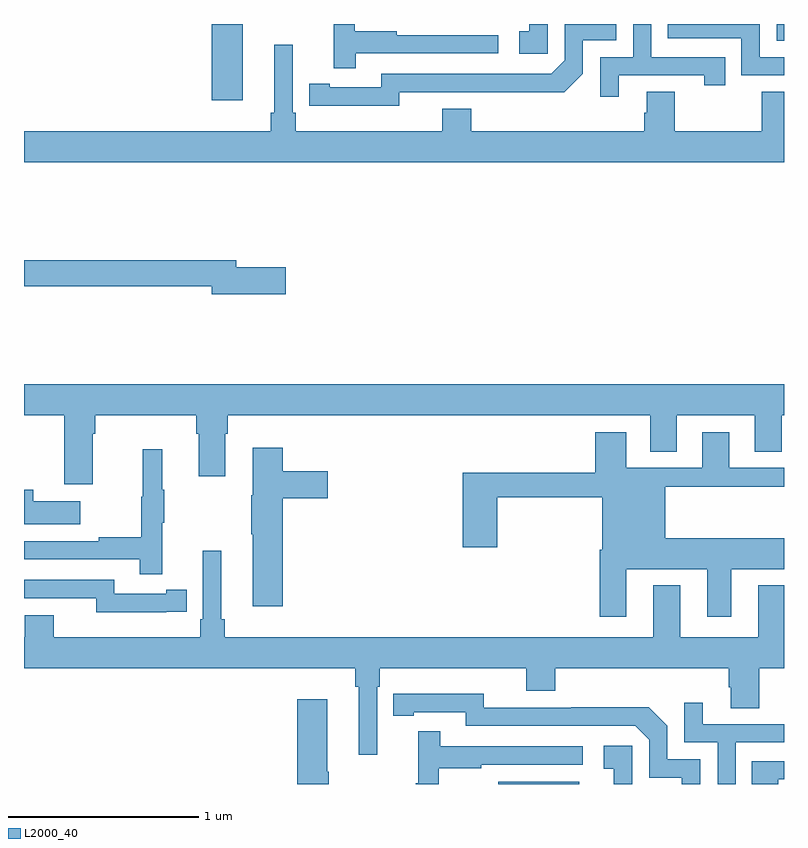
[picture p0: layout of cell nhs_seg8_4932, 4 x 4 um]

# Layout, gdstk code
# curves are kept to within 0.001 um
import gdstk
lib = gdstk.Library(unit=1e-6, precision=1e-09)
def R(c, l, rs):  # rectangles x0, y0, x1, y1
    for r in rs: c.add(gdstk.rectangle(r[:2], r[2:], *l))
def P(c, l, *ps):  # polygons
    for p in ps: c.add(gdstk.Polygon(p, *l))
L2000_40 = (2000, 40)

nhs_seg8_4932 = lib.new_cell('nhs_seg8_4932')
R(nhs_seg8_4932, L2000_40, [(411.495,1107.9,411.922,1107.913), (409.988,1111.5,410.152,1111.9), (412.962,1111.812,413,1111.9)])
P(nhs_seg8_4932, L2000_40, [(410.976,1111.542),(411.844,1111.541),(411.942,1111.638),(411.942,1111.815),(412.116,1111.815),(412.116,1111.9),(411.846,1111.9),(411.846,1111.71),(411.774,1111.638),(410.88,1111.638),(410.88,1111.566),(410.608,1111.566),(410.608,1111.586),(410.5,1111.586),(410.5,1111.47),(410.976,1111.469)],
  [(412.129,1111.629),(412.58,1111.629),(412.58,1111.578),(412.691,1111.578),(412.691,1111.725),(412.302,1111.725),(412.302,1111.9),(412.206,1111.9),(412.206,1111.725),(412.032,1111.725),(412.032,1111.518),(412.129,1111.518)],
  [(411.756,1111.9),(411.659,1111.9),(411.659,1111.863),(411.606,1111.863),(411.606,1111.743),(411.756,1111.743)],
  [(410.747,1111.746),(411.496,1111.746),(411.496,1111.842),(410.963,1111.842),(410.963,1111.862),(410.74,1111.862),(410.74,1111.9),(410.63,1111.9),(410.63,1111.668),(410.747,1111.668)],
  [(413,1111.725),(412.872,1111.725),(412.872,1111.9),(412.387,1111.9),(412.387,1111.824),(412.776,1111.824),(412.776,1111.629),(413,1111.629)],
  [(413,1111.544),(412.882,1111.544),(412.882,1111.336),(412.425,1111.336),(412.425,1111.544),(412.277,1111.544),(412.277,1111.434),(412.265,1111.434),(412.265,1111.336),(411.353,1111.336),(411.353,1111.453),(411.2,1111.453),(411.2,1111.336),(410.429,1111.336),(410.429,1111.432),(410.415,1111.432),(410.415,1111.792),(410.318,1111.792),(410.318,1111.432),(410.299,1111.432),(410.299,1111.336),(409,1111.336),(409,1111.172),(413,1111.172)],
  [(410.377,1110.62),(410.116,1110.62),(410.116,1110.656),(409,1110.656),(409,1110.52),(409.988,1110.52),(409.988,1110.478),(410.377,1110.478)],
  [(409.363,1109.744),(409.376,1109.744),(409.376,1109.84),(409.907,1109.84),(409.907,1109.744),(409.919,1109.744),(409.919,1109.52),(410.059,1109.52),(410.059,1109.744),(410.072,1109.744),(410.072,1109.84),(412.295,1109.84),(412.295,1109.65),(412.435,1109.65),(412.435,1109.84),(412.847,1109.84),(412.847,1109.65),(412.987,1109.65),(412.987,1109.84),(413,1109.84),(413,1110.004),(409,1110.004),(409,1109.84),(409.211,1109.84),(409.211,1109.478),(409.363,1109.478)],
  [(412.171,1109.03),(412.595,1109.03),(412.595,1108.779),(412.723,1108.779),(412.723,1109.03),(413,1109.03),(413,1109.194),(412.375,1109.194),(412.375,1109.464),(413,1109.464),(413,1109.565),(412.711,1109.565),(412.711,1109.752),(412.571,1109.752),(412.571,1109.565),(412.171,1109.565),(412.171,1109.752),(412.007,1109.752),(412.007,1109.539),(411.308,1109.539),(411.308,1109.145),(411.491,1109.145),(411.491,1109.41),(412.043,1109.41),(412.043,1109.134),(412.031,1109.134),(412.031,1108.779),(412.171,1108.779)],
  [(410.363,1109.405),(410.599,1109.405),(410.599,1109.547),(410.363,1109.547),(410.363,1109.671),(410.204,1109.671),(410.204,1109.421),(410.197,1109.421),(410.197,1109.215),(410.204,1109.215),(410.204,1108.836),(410.363,1108.836)],
  [(409.727,1109.275),(409.738,1109.275),(409.738,1109.449),(409.727,1109.449),(409.727,1109.662),(409.624,1109.662),(409.624,1109.412),(409.617,1109.412),(409.617,1109.198),(409.393,1109.198),(409.393,1109.178),(409,1109.178),(409,1109.082),(409.609,1109.082),(409.609,1109.004),(409.727,1109.004)],
  [(409.297,1109.389),(409.049,1109.389),(409.049,1109.449),(409,1109.449),(409,1109.267),(409.297,1109.267)],
  [(410.859,1108.412),(410.873,1108.412),(410.873,1108.508),(411.644,1108.508),(411.644,1108.391),(411.797,1108.391),(411.797,1108.508),(412.709,1108.508),(412.709,1108.41),(412.721,1108.41),(412.721,1108.3),(412.869,1108.3),(412.869,1108.508),(413,1108.508),(413,1108.945),(412.865,1108.945),(412.865,1108.672),(412.453,1108.672),(412.453,1108.945),(412.313,1108.945),(412.313,1108.672),(410.057,1108.672),(410.057,1108.768),(410.038,1108.768),(410.038,1109.128),(409.941,1109.128),(409.941,1108.768),(409.928,1108.768),(409.928,1108.672),(409.156,1108.672),(409.156,1108.789),(409.004,1108.789),(409.004,1108.672),(409,1108.672),(409,1108.508),(410.743,1108.508),(410.743,1108.412),(410.762,1108.412),(410.762,1108.053),(410.859,1108.053)],
  [(409.748,1108.806),(409.856,1108.806),(409.856,1108.922),(409.748,1108.922),(409.748,1108.902),(409.476,1108.902),(409.476,1108.974),(409,1108.974),(409,1108.878),(409.38,1108.878),(409.38,1108.805),(409.748,1108.805)],
  [(412.56,1108.029),(412.386,1108.029),(412.386,1108.206),(412.288,1108.304),(411.88,1108.304),(411.88,1108.302),(411.42,1108.302),(411.42,1108.375),(410.944,1108.374),(410.944,1108.258),(411.052,1108.258),(411.052,1108.278),(411.324,1108.278),(411.324,1108.206),(412.218,1108.206),(412.29,1108.134),(412.29,1107.933),(412.463,1107.933),(412.463,1107.9),(412.56,1107.9)],
  [(410.604,1107.965),(410.596,1107.965),(410.596,1108.345),(410.438,1108.345),(410.438,1107.9),(410.604,1107.9)],
  [(412.746,1108.119),(413,1108.119),(413,1108.215),(412.573,1108.215),(412.573,1108.327),(412.476,1108.327),(412.476,1108.119),(412.65,1108.119),(412.65,1107.9),(412.746,1107.9)],
  [(411.184,1107.982),(411.407,1107.982),(411.407,1108.002),(411.94,1108.002),(411.94,1108.098),(411.191,1108.098),(411.191,1108.177),(411.074,1108.177),(411.074,1107.905),(411.063,1107.905),(411.063,1107.9),(411.184,1107.9)],
  [(412.2,1108.102),(412.05,1108.102),(412.05,1107.981),(412.103,1107.981),(412.103,1107.9),(412.2,1107.9)],
  [(412.971,1107.924),(413,1107.924),(413,1108.02),(412.831,1108.02),(412.831,1107.9),(412.971,1107.9)])

lib.write_gds('nhs_seg8_4932.gds')
